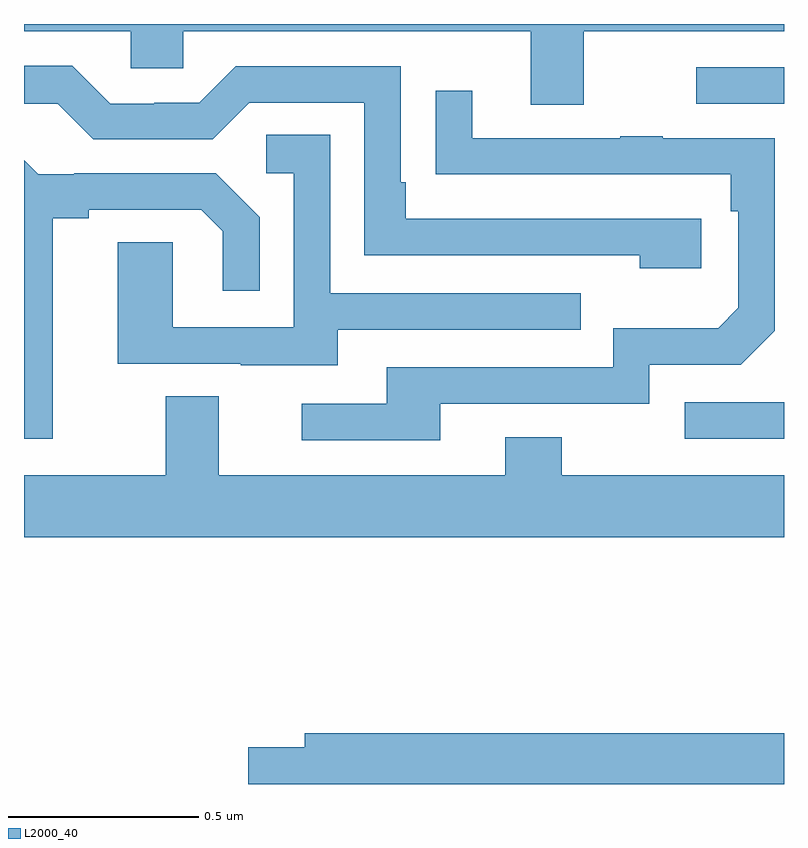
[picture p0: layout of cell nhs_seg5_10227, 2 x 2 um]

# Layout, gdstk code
import gdstk
lib = gdstk.Library(unit=1e-6, precision=1e-09)
def R(c, l, rs):  # rectangles x0, y0, x1, y1
    for r in rs: c.add(gdstk.rectangle(r[:2], r[2:], *l))
def P(c, l, *ps):  # polygons
    for p in ps: c.add(gdstk.Polygon(p, *l))
L2000_40 = (2000, 40)

nhs_seg5_10227 = lib.new_cell('nhs_seg5_10227')
R(nhs_seg5_10227, L2000_40, [(245.739,835.707,246,835.803), (245.769,836.589,246,836.685)])
P(nhs_seg5_10227, L2000_40, [(245.473,836.78),(246,836.78),(246,836.799),(244,836.799),(244,836.78),(244.281,836.78),(244.281,836.682),(244.419,836.682),(244.419,836.78),(245.333,836.78),(245.333,836.586),(245.473,836.586)],
  [(245.782,836.286),(245.005,836.286),(245.005,836.383),(244.992,836.383),(244.992,836.688),(244.557,836.688),(244.461,836.592),(244.343,836.592),(244.343,836.589),(244.227,836.589),(244.127,836.689),(244,836.689),(244,836.589),(244.089,836.589),(244.182,836.496),(244.497,836.496),(244.593,836.592),(244.896,836.592),(244.896,836.19),(245.621,836.19),(245.621,836.156),(245.782,836.156)],
  [(245.095,835.8),(245.646,835.8),(245.646,835.902),(245.886,835.902),(245.976,835.992),(245.976,836.499),(245.681,836.499),(245.681,836.504),(245.569,836.504),(245.569,836.499),(245.179,836.499),(245.179,836.623),(245.083,836.623),(245.083,836.404),(245.185,836.404),(245.185,836.403),(245.86,836.403),(245.86,836.306),(245.88,836.306),(245.88,836.052),(245.827,835.999),(245.55,835.999),(245.55,835.896),(244.955,835.896),(244.955,835.8),(244.731,835.8),(244.731,835.704),(245.095,835.704)],
  [(244.825,835.995),(245.465,835.995),(245.465,836.091),(244.806,836.091),(244.806,836.507),(244.638,836.507),(244.638,836.406),(244.71,836.406),(244.71,836.001),(244.392,836.001),(244.392,836.225),(244.247,836.225),(244.247,835.905),(244.571,835.905),(244.571,835.901),(244.825,835.901)],
  [(244.075,836.288),(244.171,836.288),(244.171,836.31),(244.466,836.31),(244.523,836.253),(244.523,836.097),(244.62,836.097),(244.62,836.29),(244.504,836.406),(244.132,836.406),(244.132,836.403),(244.038,836.403),(244,836.441),(244,835.707),(244.075,835.707)],
  [(246,835.612),(245.415,835.612),(245.415,835.711),(245.267,835.711),(245.267,835.612),(244.513,835.612),(244.513,835.82),(244.373,835.82),(244.373,835.612),(244,835.612),(244,835.448),(246,835.448)],
  [(246,834.932),(244.739,834.932),(244.739,834.896),(244.59,834.896),(244.59,834.799),(246,834.799)])

lib.write_gds('nhs_seg5_10227.gds')
